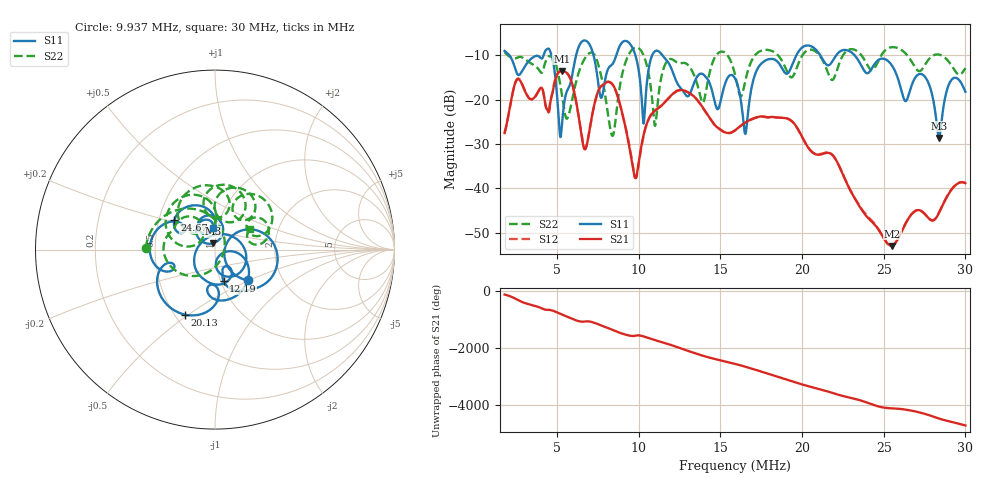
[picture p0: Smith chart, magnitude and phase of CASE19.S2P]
!Agilent Technologies,E5061B,MY49101568,A.02.00
!Date: Wed Mar 01 15:05:45 2023
!Data & Calibration Information:
!Freq	S11:SOLT2(OFF)	S21:SOLT2(OFF)	S12:SOLT2(OFF)	S22:SOLT2(OFF)
# Hz S dB R 50
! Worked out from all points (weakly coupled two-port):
!   1155 points, 1.8 MHz to 30 MHz, reference 50 ohm
!   highest |S21| = -13.55 dB at 5.294 MHz (marker M1); lowest = -53.0 dB at 25.53 MHz (marker M2)
!   lowest |S11| = -28.6 dB at 28.39 MHz (marker M3), VSWR 1.08, Z = 48.8 + j3.46 ohm
!   |S11| at or under -10 dB: 2.087 MHz to 4.189 MHz (2.102 MHz wide, 67 % of centre); 11.46 MHz to 19.66 MHz (8.2 MHz wide, 52.7 % of centre); 23.22 MHz to end of sweep (the widest 3 of 7)
!   |S22| runs from -28.2 to -8.2 dB; largest |S21 - S12| = 0.0025
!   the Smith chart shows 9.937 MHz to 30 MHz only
!   S11 on the Smith chart (normalised r, x): 9.937 MHz: 1.35, -0.49; 12.19 MHz: 1.03, -0.38; 20.13 MHz: 0.56, -0.48; 24.67 MHz: 0.60, +0.22; 30 MHz: 0.95, +0.23
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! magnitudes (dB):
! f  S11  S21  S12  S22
! 1.8 MHz  -9.0  -27.5  -27.6  -9.3
! 2.606 MHz  -14.4  -15.4  -15.3  -10.5
! 4.537 MHz  -8.6  -22.3  -22.2  -10.2
! 5.294 MHz  -26.3  -13.5  -13.5  -18.6
! 6.516 MHz  -7.0  -28.3  -28.1  -12.1
! 7.714 MHz  -19.6  -16.9  -17.0  -14.7
! 8.398 MHz  -12.0  -16.6  -16.6  -28.2
! 9.937 MHz  -12.0  -35.9  -36.3  -8.3
! 10.3 MHz  -25.4  -28.0  -28.2  -10.0
! 11.21 MHz  -9.1  -22.0  -21.9  -19.3
! 12.19 MHz  -14.7  -18.4  -18.5  -11.2
! 15.9 MHz  -15.2  -26.9  -27.0  -14.3
! 16.54 MHz  -27.8  -25.2  -25.2  -15.7
! 17.39 MHz  -12.4  -23.8  -23.9  -9.2
! 20.13 MHz  -8.0  -29.3  -29.3  -9.5
! 20.62 MHz  -8.1  -31.9  -31.8  -8.8
! 24.67 MHz  -11.1  -49.3  -49.2  -11.3
! 25.31 MHz  -11.4  -52.7  -52.8  -8.3
! 25.53 MHz  -12.4  -53.0  -52.9  -8.2
! 27.56 MHz  -15.0  -46.0  -46.0  -12.0
! 28.39 MHz  -28.6  -45.5  -45.4  -9.9
! 30 MHz  -18.2  -38.9  -38.8  -12.9
